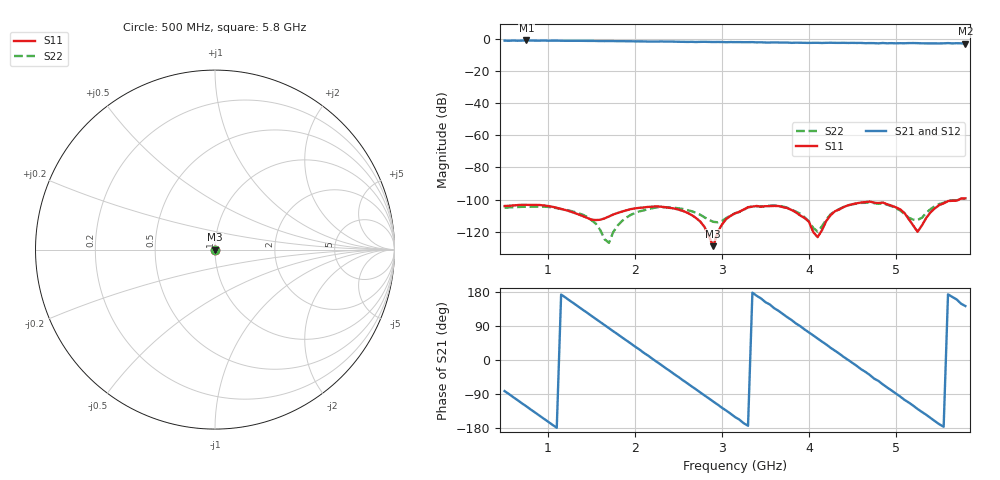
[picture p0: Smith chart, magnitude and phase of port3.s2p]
# GHZ S RI R 50
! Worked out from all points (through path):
!   107 points, 500 MHz to 5.8 GHz, reference 50 ohm
!   highest |S21| = -1.04 dB at 750 MHz (marker M1); lowest = -3.0 dB at 5.8 GHz (marker M2)
!   group delay of S21, straight-line fit = 448 ps
!   lowest |S11| = -129.0 dB at 2.9 GHz (marker M3), VSWR 1.00, Z = 50 - j9.72e-06 ohm
!   |S11| at or under -10 dB: start of sweep to end of sweep
!   |S22| runs from -126.9 to -99.3 dB; largest |S21 - S12| = 0.015
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0.5  5.3e-06 -3.4e-06  0.1217 -0.868  0.1221 -0.8675  5.43e-06 -1.17e-06
0.75  1.38e-06 -6.72e-06  -0.4724 -0.751  -0.472 -0.7509  4.42e-06 -4.01e-06
1.1  -3.85e-06 -3.99e-06  -0.8773 -0.0181  -0.8766 -0.0185  8.45e-08 -5.41e-06
1.4  -2.86e-06 -1.1e-06  -0.5829 0.6372  -0.5833 0.6384  -2.31e-06 -2.46e-06
1.6  -1.69e-06 -1.65e-06  -0.1501 0.8351  -0.1522 0.8347  -9.67e-07 -5.8e-07
1.8  -2.5e-06 -2.91e-06  0.315 0.7791  0.3158 0.7773  1.23e-06 -9.53e-07
2.05  -5.01e-06 -2.38e-06  0.735 0.3885  0.7346 0.3872  1.4e-06 -4.06e-06
2.3  -5.94e-06 9.08e-07  0.8059 -0.1817  0.8061 -0.1781  -2.12e-06 -5.39e-06
2.65  -1.69e-06 2.87e-06  0.2825 -0.753  0.2873 -0.7518  -4.2e-06 -1.19e-06
2.9  -3.42e-07 -9.72e-08  -0.2673 -0.7464  -0.2658 -0.7474  -1.92e-06 -6.75e-07
3.15  -3.06e-06 -2.12e-06  -0.6843 -0.387  -0.684 -0.3923  -2.24e-06 -3e-06
3.35  -6.04e-06 -3.18e-07  -0.7867 0.0311  -0.7843 0.0228  -5.21e-06 -3.07e-06
3.55  -5.18e-06 3.46e-06  -0.6387 0.4218  -0.6322 0.4278  -6.48e-06 6.11e-07
3.75  -2.42e-06 4.88e-06  -0.2999 0.7027  -0.2972 0.7066  -4.85e-06 2.78e-06
4.05  -2.57e-07 9.39e-07  0.3182 0.6778  0.3195 0.6769  -9.98e-07 8.56e-07
4.25  -3.25e-06 -5.05e-07  0.637 0.4007  0.6379 0.4024  -3.03e-06 -1.76e-06
4.5  -6.55e-06 2.95e-06  0.7402 -0.0979  0.7434 -0.1018  -7.12e-06 -9.72e-08
4.95  1.6e-06 6.28e-06  0.1246 -0.7221  0.1253 -0.7225  -2.65e-06 5.62e-06
5.15  2.16e-06 1.12e-06  -0.2805 -0.6798  -0.2822 -0.6819  -1.1e-06 2.47e-06
5.4  -3.92e-06 -8.99e-07  -0.6417 -0.3252  -0.6422 -0.3286  -5.06e-06 6.57e-07
5.6  -7.8e-06 4.53e-06  -0.7296 0.0864  -0.7291 0.0715  -8.1e-06 4.87e-06
5.8  -4.61e-06 9.86e-06  -0.5614 0.4327  -0.5523 0.4397  -5.38e-06 9.33e-06
